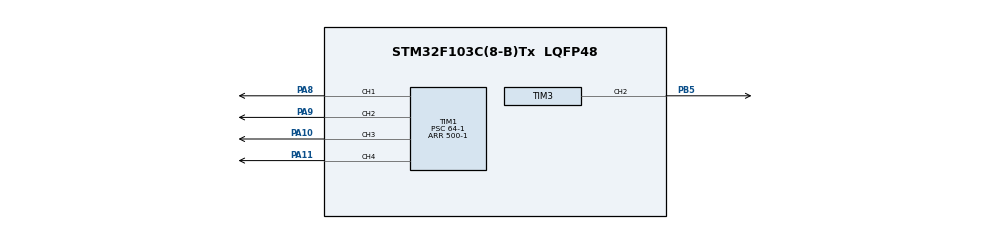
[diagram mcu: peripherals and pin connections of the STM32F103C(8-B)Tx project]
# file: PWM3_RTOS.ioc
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FREERTOS.Tasks01=defaultTask,0,128,StartDefaultTask,Default,NULL,Dynamic,NULL,NULL
Mcu.Family=STM32F1
Mcu.Name=STM32F103C(8-B)Tx
Mcu.Package=LQFP48
NVIC.PriorityGroup=NVIC_PRIORITYGROUP_4
PA10.Signal=S_TIM1_CH3
PA11.Signal=S_TIM1_CH4
PA13.Mode=Serial_Wire
PA13.Signal=SYS_JTMS-SWDIO
PA14.Mode=Serial_Wire
PA14.Signal=SYS_JTCK-SWCLK
PA8.Signal=S_TIM1_CH1
PA9.Signal=S_TIM1_CH2
PB5.Signal=S_TIM3_CH2
ProjectManager.HeapSize=0x200
ProjectManager.StackSize=0x400
ProjectManager.TargetToolchain=STM32CubeIDE
RCC.APB1Freq_Value=8000000
RCC.APB2Freq_Value=8000000
SH.S_TIM1_CH1.0=TIM1_CH1,PWM Generation1 CH1
SH.S_TIM1_CH2.0=TIM1_CH2,PWM Generation2 CH2
SH.S_TIM1_CH3.0=TIM1_CH3,PWM Generation3 CH3
SH.S_TIM1_CH4.0=TIM1_CH4,PWM Generation4 CH4
SH.S_TIM3_CH2.0=TIM3_CH2,PWM Generation2 CH2
TIM1.Channel-PWM\ Generation1\ CH1=TIM_CHANNEL_1
TIM1.Channel-PWM\ Generation2\ CH2=TIM_CHANNEL_2
TIM1.Channel-PWM\ Generation3\ CH3=TIM_CHANNEL_3
TIM1.Channel-PWM\ Generation4\ CH4=TIM_CHANNEL_4
TIM1.Period=500-1
TIM1.Prescaler=64-1
TIM3.Channel-PWM\ Generation2\ CH2=TIM_CHANNEL_2
TIM3.Period=500-1
TIM3.Prescaler=64-1
VP_FREERTOS_VS_CMSIS_V1.Mode=CMSIS_V1
board=custom

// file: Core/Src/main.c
/* USER CODE BEGIN Header */
/**
  ******************************************************************************
  * @file           : main.c
  * @brief          : Main program body
  ******************************************************************************
  * @attention
  *
  * Copyright (c) 2023 STMicroelectronics.
  * All rights reserved.
  *
  * This software is licensed under terms that can be found in the LICENSE file
  * in the root directory of this software component.
  * If no LICENSE file comes with this software, it is provided AS-IS.
  *
  ******************************************************************************
  */
/* USER CODE END Header */
#include "main.h"
#include "cmsis_os.h"

TIM_HandleTypeDef htim1;
TIM_HandleTypeDef htim3;

osThreadId defaultTaskHandle;

void SystemClock_Config(void);
static void MX_GPIO_Init(void);
static void MX_TIM1_Init(void);
static void MX_TIM3_Init(void);
void StartDefaultTask(void const * argument);

/* USER CODE BEGIN PFP */
void setPWMP(TIM_HandleTypeDef * tim, uint16_t channel, uint16_t pwm_value);
/* USER CODE END PFP */

int main(void)
{

  /* MCU Configuration--------------------------------------------------------*/

  /* Reset of all peripherals, Initializes the Flash interface and the Systick. */
  HAL_Init();

  /* Configure the system clock */
  SystemClock_Config();

  /* Initialize all configured peripherals */
  MX_GPIO_Init();
  MX_TIM1_Init();
  MX_TIM3_Init();
  /* USER CODE BEGIN 2 */
  HAL_TIM_PWM_Start(&htim1, TIM_CHANNEL_1);
  HAL_TIM_PWM_Start(&htim1, TIM_CHANNEL_2);
  HAL_TIM_PWM_Start(&htim1, TIM_CHANNEL_3);
  HAL_TIM_PWM_Start(&htim1, TIM_CHANNEL_4);
  HAL_TIM_PWM_Start(&htim3, TIM_CHANNEL_2);

  /* USER CODE END 2 */

  /* Create the thread(s) */
  /* definition and creation of defaultTask */
  osThreadDef(defaultTask, StartDefaultTask, osPriorityNormal, 0, 128);
  defaultTaskHandle = osThreadCreate(osThread(defaultTask), NULL);

  /* Start scheduler */
  osKernelStart();

  /* We should never get here as control is now taken by the scheduler */
  /* Infinite loop */
  /* USER CODE BEGIN WHILE */
  uint16_t pa8val, pa9val, pa10val, pa11val, pb5val;
  int8_t pa8step, pa9step, pa10step, pa11step, pb5step;

  while (1)
  {
    /* USER CODE END WHILE */

    /* USER CODE BEGIN 3 */

    if(pa8val == 0) pa8step = 1;
    if(pa8val == 200) pa8step = -1;
    pa8val += pa8step;

    if(pa9val == 0) pa9step = 1;
    if(pa9val == 300) pa9step = -1;
    pa9val += pa9step;

    if(pa10val == 0) pa10step = 1;
    if(pa10val == 400) pa10step = -1;
    pa10val += pa10step;

    if(pa11val == 0) pa11step = 1;
    if(pa11val == 500) pa11step = -1;
    pa11val += pa11step;

    if(pb5val == 0) pb5step = 1;
    if(pb5val == 600) pb5step = -1;
    pb5val += pb5step;

    setPWMP(&htim1, TIM_CHANNEL_1, pa8val); //PA8
    setPWMP(&htim1, TIM_CHANNEL_2, pa9val); //PA9
    setPWMP(&htim1, TIM_CHANNEL_3, pa10val); //PA10
    setPWMP(&htim1, TIM_CHANNEL_4, pa11val); //PA11
    setPWMP(&htim3, TIM_CHANNEL_2, pb5val); //PB5

	HAL_Delay(5);
  }
  /* USER CODE END 3 */
}

void SystemClock_Config(void)
{
  RCC_OscInitTypeDef RCC_OscInitStruct = {0};
  RCC_ClkInitTypeDef RCC_ClkInitStruct = {0};

  /** Initializes the RCC Oscillators according to the specified parameters
  * in the RCC_OscInitTypeDef structure.
  */
  RCC_OscInitStruct.OscillatorType = RCC_OSCILLATORTYPE_HSI;
  RCC_OscInitStruct.HSIState = RCC_HSI_ON;
  RCC_OscInitStruct.HSICalibrationValue = RCC_HSICALIBRATION_DEFAULT;
  RCC_OscInitStruct.PLL.PLLState = RCC_PLL_NONE;
  if (HAL_RCC_OscConfig(&RCC_OscInitStruct) != HAL_OK)
  {
    Error_Handler();
  }
  /** Initializes the CPU, AHB and APB buses clocks
  */
  RCC_ClkInitStruct.ClockType = RCC_CLOCKTYPE_HCLK|RCC_CLOCKTYPE_SYSCLK
                              |RCC_CLOCKTYPE_PCLK1|RCC_CLOCKTYPE_PCLK2;
  RCC_ClkInitStruct.SYSCLKSource = RCC_SYSCLKSOURCE_HSI;
  RCC_ClkInitStruct.AHBCLKDivider = RCC_SYSCLK_DIV1;
  RCC_ClkInitStruct.APB1CLKDivider = RCC_HCLK_DIV1;
  RCC_ClkInitStruct.APB2CLKDivider = RCC_HCLK_DIV1;

  if (HAL_RCC_ClockConfig(&RCC_ClkInitStruct, FLASH_LATENCY_0) != HAL_OK)
  {
    Error_Handler();
  }
}

static void MX_TIM1_Init(void)
{

  TIM_MasterConfigTypeDef sMasterConfig = {0};
  TIM_OC_InitTypeDef sConfigOC = {0};
  TIM_BreakDeadTimeConfigTypeDef sBreakDeadTimeConfig = {0};

  htim1.Instance = TIM1;
  htim1.Init.Prescaler = 64-1;
  htim1.Init.CounterMode = TIM_COUNTERMODE_UP;
  htim1.Init.Period = 500-1;
  htim1.Init.ClockDivision = TIM_CLOCKDIVISION_DIV1;
  htim1.Init.RepetitionCounter = 0;
  htim1.Init.AutoReloadPreload = TIM_AUTORELOAD_PRELOAD_DISABLE;
  if (HAL_TIM_PWM_Init(&htim1) != HAL_OK)
  {
    Error_Handler();
  }
  sMasterConfig.MasterOutputTrigger = TIM_TRGO_RESET;
  sMasterConfig.MasterSlaveMode = TIM_MASTERSLAVEMODE_DISABLE;
  if (HAL_TIMEx_MasterConfigSynchronization(&htim1, &sMasterConfig) != HAL_OK)
  {
    Error_Handler();
  }
  sConfigOC.OCMode = TIM_OCMODE_PWM1;
  sConfigOC.Pulse = 0;
  sConfigOC.OCPolarity = TIM_OCPOLARITY_HIGH;
  sConfigOC.OCNPolarity = TIM_OCNPOLARITY_HIGH;
  sConfigOC.OCFastMode = TIM_OCFAST_DISABLE;
  sConfigOC.OCIdleState = TIM_OCIDLESTATE_RESET;
  sConfigOC.OCNIdleState = TIM_OCNIDLESTATE_RESET;
  if (HAL_TIM_PWM_ConfigChannel(&htim1, &sConfigOC, TIM_CHANNEL_1) != HAL_OK)
  {
    Error_Handler();
  }
  if (HAL_TIM_PWM_ConfigChannel(&htim1, &sConfigOC, TIM_CHANNEL_2) != HAL_OK)
  {
    Error_Handler();
  }
  if (HAL_TIM_PWM_ConfigChannel(&htim1, &sConfigOC, TIM_CHANNEL_3) != HAL_OK)
  {
    Error_Handler();
  }
  if (HAL_TIM_PWM_ConfigChannel(&htim1, &sConfigOC, TIM_CHANNEL_4) != HAL_OK)
  {
    Error_Handler();
  }
  sBreakDeadTimeConfig.OffStateRunMode = TIM_OSSR_DISABLE;
  sBreakDeadTimeConfig.OffStateIDLEMode = TIM_OSSI_DISABLE;
  sBreakDeadTimeConfig.LockLevel = TIM_LOCKLEVEL_OFF;
  sBreakDeadTimeConfig.DeadTime = 0;
  sBreakDeadTimeConfig.BreakState = TIM_BREAK_DISABLE;
  sBreakDeadTimeConfig.BreakPolarity = TIM_BREAKPOLARITY_HIGH;
  sBreakDeadTimeConfig.AutomaticOutput = TIM_AUTOMATICOUTPUT_DISABLE;
  if (HAL_TIMEx_ConfigBreakDeadTime(&htim1, &sBreakDeadTimeConfig) != HAL_OK)
  {
    Error_Handler();
  }
  HAL_TIM_MspPostInit(&htim1);

}

static void MX_TIM3_Init(void)
{

  TIM_MasterConfigTypeDef sMasterConfig = {0};
  TIM_OC_InitTypeDef sConfigOC = {0};

  htim3.Instance = TIM3;
  htim3.Init.Prescaler = 64-1;
  htim3.Init.CounterMode = TIM_COUNTERMODE_UP;
  htim3.Init.Period = 500-1;
  htim3.Init.ClockDivision = TIM_CLOCKDIVISION_DIV1;
  htim3.Init.AutoReloadPreload = TIM_AUTORELOAD_PRELOAD_DISABLE;
  if (HAL_TIM_PWM_Init(&htim3) != HAL_OK)
  {
    Error_Handler();
  }
  sMasterConfig.MasterOutputTrigger = TIM_TRGO_RESET;
  sMasterConfig.MasterSlaveMode = TIM_MASTERSLAVEMODE_DISABLE;
  if (HAL_TIMEx_MasterConfigSynchronization(&htim3, &sMasterConfig) != HAL_OK)
  {
    Error_Handler();
  }
  sConfigOC.OCMode = TIM_OCMODE_PWM1;
  sConfigOC.Pulse = 0;
  sConfigOC.OCPolarity = TIM_OCPOLARITY_HIGH;
  sConfigOC.OCFastMode = TIM_OCFAST_DISABLE;
  if (HAL_TIM_PWM_ConfigChannel(&htim3, &sConfigOC, TIM_CHANNEL_2) != HAL_OK)
  {
    Error_Handler();
  }
  HAL_TIM_MspPostInit(&htim3);

}

static void MX_GPIO_Init(void)
{

  /* GPIO Ports Clock Enable */
  __HAL_RCC_GPIOA_CLK_ENABLE();
  __HAL_RCC_GPIOB_CLK_ENABLE();

}

/* USER CODE BEGIN 4 */
void setPWMP(TIM_HandleTypeDef * tim, uint16_t channel, uint16_t value)
{
    TIM_OC_InitTypeDef sConfigOC;
    sConfigOC.OCMode = TIM_OCMODE_PWM1;
    sConfigOC.Pulse = value;
    sConfigOC.OCPolarity = TIM_OCPOLARITY_HIGH;
    sConfigOC.OCFastMode = TIM_OCFAST_DISABLE;
    HAL_TIM_PWM_ConfigChannel(tim, &sConfigOC, channel); // таймер №1, канал №3
    HAL_TIM_PWM_Start(tim, channel);
}
/* USER CODE END 4 */

void StartDefaultTask(void const * argument)
{
  for(;;)
  {
    osDelay(1);
  }
}

void Error_Handler(void)
{
  __disable_irq();
  while (1)
  {
  }
}
